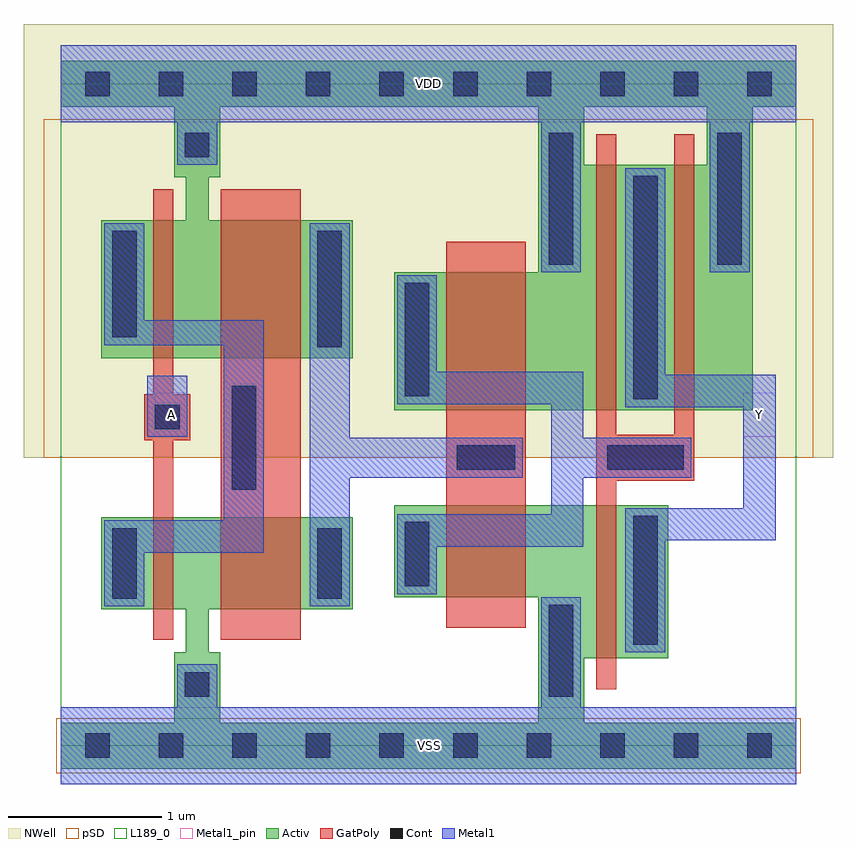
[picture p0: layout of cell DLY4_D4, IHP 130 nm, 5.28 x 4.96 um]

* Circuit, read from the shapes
.subckt DLY4_D4 A VDD VSS Y
XM1 VSS A n1 VSS sg13_lv_nmos w=0.6u l=0.13u
XM2 n2 n1 VSS VSS sg13_lv_nmos w=0.6u l=0.52u
XM3 VSS n2 n3 VSS sg13_lv_nmos w=0.6u l=0.52u
XM4 Y n3 VSS VSS sg13_lv_nmos w=1u l=0.13u
XM5 VDD A n1 VDD sg13_lv_pmos w=0.9u l=0.13u
XM6 n2 n1 VDD VDD sg13_lv_pmos w=0.9u l=0.52u
XM7 VDD n2 n3 VDD sg13_lv_pmos w=0.9u l=0.52u
XM8 Y n3 VDD VDD sg13_lv_pmos w=1.6u l=0.13u m=2
.ends

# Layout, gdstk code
import gdstk
lib = gdstk.Library(unit=1e-6, precision=1e-09)
def R(c, l, rs):  # rectangles x0, y0, x1, y1
    for r in rs: c.add(gdstk.rectangle(r[:2], r[2:], *l))
def A(c, l, x, y, w, h, nx, ny, dx, dy):  # array of equal rectangles
    R(c, l, [(x+i*dx, y+j*dy, x+i*dx+w, y+j*dy+h) for i in range(nx) for j in range(ny)])
def P(c, l, *ps):  # polygons
    for p in ps: c.add(gdstk.Polygon(p, *l))
Activ = (1, 0)
GatPoly = (5, 0)
Cont = (6, 0)
Metal1 = (8, 0)
Metal1_pin = (8, 2)
pSD = (14, 0)
NWell = (31, 0)
L189_0 = (189, 0)

dly4_d4 = lib.new_cell('DLY4_D4')
P(dly4_d4, Activ, [(0,-0.15),(0,0.15),(0.74,0.15),(0.74,0.61),(0.815,0.61),(0.815,0.89),(0.265,0.89),(0.265,1.49),(1.905,1.49),(1.905,0.89),(0.965,0.89),(0.965,0.61),(1.04,0.61),(1.04,0.15),(3.115,0.15),(3.115,0.97),(2.175,0.97),(2.175,1.57),(3.965,1.57),(3.965,0.57),(3.415,0.57),(3.415,0.15),(4.8,0.15),(4.8,-0.15)],
  [(2.175,2.19),(2.175,3.09),(3.115,3.09),(3.115,4.17),(3.415,4.17),(3.415,3.79),(4.215,3.79),(4.215,4.17),(1.04,4.17),(1.04,3.71),(0.965,3.71),(0.965,3.43),(1.905,3.43),(1.905,2.53),(0.265,2.53),(0.265,3.43),(0.815,3.43),(0.815,3.71),(0.74,3.71),(0.74,4.17),(0,4.17),(0,4.47),(4.8,4.47),(4.8,4.17),(4.515,4.17),(4.515,2.19)])
R(dly4_d4, GatPoly, [(1.045,0.69,1.565,3.63), (2.515,0.77,3.035,3.29)])
P(dly4_d4, GatPoly, [(0.605,0.69),(0.605,1.995),(0.545,1.995),(0.545,2.295),(0.605,2.295),(0.605,3.63),(0.735,3.63),(0.735,2.295),(0.845,2.295),(0.845,1.995),(0.735,1.995),(0.735,0.69)],
  [(3.495,0.37),(3.495,3.99),(3.625,3.99),(3.625,2.03),(4.005,2.03),(4.005,3.99),(4.135,3.99),(4.135,1.73),(3.625,1.73),(3.625,0.37)])
A(dly4_d4, Cont, 0.16, -0.08, 0.16, 0.16, 10, 2, 0.48, 4.32)
R(dly4_d4, Cont, [(0.81,0.32,0.97,0.48), (3.185,0.32,3.345,0.92), (3.735,0.66,3.895,1.5), (0.335,0.96,0.495,1.42), (1.675,0.96,1.835,1.42), (2.245,1.04,2.405,1.46), (1.115,1.67,1.275,2.35), (2.585,1.8,2.965,1.96), (3.565,1.8,4.065,1.96), (0.615,2.065,0.775,2.225), (3.735,2.26,3.895,3.72), (2.245,2.28,2.405,3.02), (1.675,2.6,1.835,3.36), (0.335,2.665,0.495,3.36), (3.185,3.14,3.345,4), (4.285,3.14,4.445,4), (0.81,3.84,0.97,4)])
R(dly4_d4, Metal1, [(0.565,2.015,0.825,2.415)])
P(dly4_d4, Metal1, [(0,-0.25),(0,0.25),(0.76,0.25),(0.76,0.53),(1.02,0.53),(1.02,0.25),(3.135,0.25),(3.135,0.97),(3.395,0.97),(3.395,0.25),(4.8,0.25),(4.8,-0.25)],
  [(2.195,0.99),(2.195,1.51),(3.2,1.51),(3.2,2.23),(2.195,2.23),(2.195,3.07),(2.455,3.07),(2.455,2.44),(3.41,2.44),(3.41,2.01),(4.115,2.01),(4.115,1.75),(3.41,1.75),(3.41,1.3),(2.455,1.3),(2.455,0.99)],
  [(0.285,0.91),(0.285,1.47),(1.065,1.47),(1.065,2.615),(0.285,2.615),(0.285,3.41),(0.545,3.41),(0.545,2.775),(1.325,2.775),(1.325,1.26),(0.545,1.26),(0.545,0.91)],
  [(1.625,0.91),(1.625,3.41),(1.885,3.41),(1.885,2.01),(3.015,2.01),(3.015,1.75),(1.885,1.75),(1.885,0.91)],
  [(3.685,0.61),(3.685,1.55),(4.455,1.55),(4.455,2.21),(3.685,2.21),(3.685,3.77),(3.945,3.77),(3.945,2.42),(4.665,2.42),(4.665,1.34),(3.945,1.34),(3.945,0.61)],
  [(3.135,3.09),(3.135,4.07),(1.02,4.07),(1.02,3.79),(0.76,3.79),(0.76,4.07),(0,4.07),(0,4.57),(4.8,4.57),(4.8,4.07),(4.495,4.07),(4.495,3.09),(4.235,3.09),(4.235,4.07),(3.395,4.07),(3.395,3.09)])
R(dly4_d4, Metal1_pin, [(0,-0.25,4.8,0.25), (0.615,2.015,0.825,2.305), (4.455,2.015,4.665,2.305), (0,4.07,4.8,4.57)])
R(dly4_d4, pSD, [(-0.03,-0.18,4.83,0.18), (-0.11,1.88,4.91,4.09)])
R(dly4_d4, NWell, [(-0.24,1.88,5.04,4.71)])
R(dly4_d4, L189_0, [(0,0,4.8,4.32)])
dly4_d4.add(gdstk.Label('Y', (4.56,2.16), layer=8, texttype=25))
dly4_d4.add(gdstk.Label('VSS', (2.405,0), layer=8, texttype=25))
dly4_d4.add(gdstk.Label('VDD', (2.4,4.32), layer=8, texttype=25))
dly4_d4.add(gdstk.Label('A', (0.72,2.16), layer=8, texttype=25))

lib.write_gds('DLY4_D4.gds')
